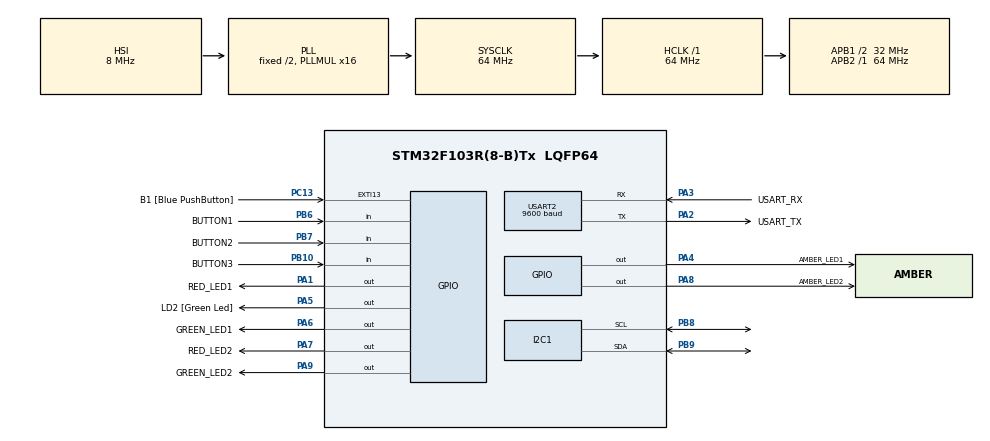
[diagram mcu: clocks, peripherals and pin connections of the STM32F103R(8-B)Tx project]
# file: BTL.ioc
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Mcu.Family=STM32F1
Mcu.Name=STM32F103R(8-B)Tx
Mcu.Package=LQFP64
NVIC.EXTI15_10_IRQn=true\:0\:0\:false\:false\:true\:true\:true
NVIC.I2C1_ER_IRQn=true\:0\:0\:false\:false\:true\:true\:true
NVIC.I2C1_EV_IRQn=true\:0\:0\:false\:false\:true\:true\:true
NVIC.PriorityGroup=NVIC_PRIORITYGROUP_4
NVIC.TIM2_IRQn=true\:0\:0\:false\:false\:true\:true\:true
PA1.GPIO_Label=RED_LED1
PA1.Signal=GPIO_Output
PA13.GPIO_Label=TMS
PA13.Mode=Serial_Wire
PA13.Signal=SYS_JTMS-SWDIO
PA14.GPIO_Label=TCK
PA14.Mode=Serial_Wire
PA14.Signal=SYS_JTCK-SWCLK
PA2.GPIO_Label=USART_TX
PA2.GPIO_Mode=GPIO_MODE_AF_PP
PA2.GPIO_PuPd=GPIO_NOPULL
PA2.GPIO_Speed=GPIO_SPEED_FREQ_LOW
PA2.Mode=Asynchronous
PA2.Signal=USART2_TX
PA3.GPIO_Label=USART_RX
PA3.GPIO_Mode=GPIO_MODE_AF_PP
PA3.GPIO_PuPd=GPIO_NOPULL
PA3.GPIO_Speed=GPIO_SPEED_FREQ_LOW
PA3.Mode=Asynchronous
PA3.Signal=USART2_RX
PA4.GPIO_Label=AMBER_LED1
PA4.Signal=GPIO_Output
PA5.GPIO_Label=LD2 [Green Led]
PA5.GPIO_ModeDefaultOutputPP=GPIO_MODE_OUTPUT_PP
PA5.GPIO_PuPd=GPIO_NOPULL
PA5.GPIO_Speed=GPIO_SPEED_FREQ_LOW
PA5.Signal=GPIO_Output
PA6.GPIO_Label=GREEN_LED1
PA6.Signal=GPIO_Output
PA7.GPIO_Label=RED_LED2
PA7.Signal=GPIO_Output
PA8.GPIO_Label=AMBER_LED2
PA8.Signal=GPIO_Output
PA9.GPIO_Label=GREEN_LED2
PA9.Signal=GPIO_Output
PB10.GPIO_Label=BUTTON3
PB10.GPIO_PuPd=GPIO_PULLUP
PB10.Signal=GPIO_Input
PB3.GPIO_Label=SWO
PB3.Signal=SYS_JTDO-TRACESWO
PB6.GPIO_Label=BUTTON1
PB6.GPIO_PuPd=GPIO_PULLUP
PB6.Signal=GPIO_Input
PB7.GPIO_Label=BUTTON2
PB7.GPIO_PuPd=GPIO_PULLUP
PB7.Signal=GPIO_Input
PB8.Mode=I2C
PB8.Signal=I2C1_SCL
PB9.Mode=I2C
PB9.Signal=I2C1_SDA
PC13-TAMPER-RTC.GPIO_Label=B1 [Blue PushButton]
PC13-TAMPER-RTC.GPIO_PuPd=GPIO_NOPULL
PC13-TAMPER-RTC.Signal=GPXTI13
PC14-OSC32_IN.Mode=LSE-External-Oscillator
PC14-OSC32_IN.Signal=RCC_OSC32_IN
PC15-OSC32_OUT.Mode=LSE-External-Oscillator
PC15-OSC32_OUT.Signal=RCC_OSC32_OUT
PD0-OSC_IN.Mode=HSE-External-Oscillator
PD0-OSC_IN.Signal=RCC_OSC_IN
PD1-OSC_OUT.Mode=HSE-External-Oscillator
PD1-OSC_OUT.Signal=RCC_OSC_OUT
ProjectManager.HeapSize=0x200
ProjectManager.StackSize=0x400
ProjectManager.TargetToolchain=STM32CubeIDE
RCC.AHBFreq_Value=64000000
RCC.APB1CLKDivider=RCC_HCLK_DIV2
RCC.APB1Freq_Value=32000000
RCC.APB1TimFreq_Value=64000000
RCC.APB2Freq_Value=64000000
RCC.APB2TimFreq_Value=64000000
RCC.HCLKFreq_Value=64000000
RCC.PLLMUL=RCC_PLL_MUL16
RCC.RTCClockSelection=RCC_RTCCLKSOURCE_LSE
RCC.SYSCLKFreq_VALUE=64000000
RCC.SYSCLKSource=RCC_SYSCLKSOURCE_PLLCLK
RCC.USBFreq_Value=64000000
TIM2.Period=9
TIM2.Prescaler=7999
USART2.BaudRate=9600
USART2.VirtualMode=VM_ASYNC
VP_TIM2_VS_ClockSourceINT.Mode=Internal
board=NUCLEO-F103RB

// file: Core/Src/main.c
/* USER CODE BEGIN Header */
/**
  ******************************************************************************
  * @file           : main.c
  * @brief          : Main program body
  ******************************************************************************
  * @attention
  *
  * <h2><center>&copy; Copyright (c) 2024 STMicroelectronics.
  * All rights reserved.</center></h2>
  *
  * This software component is licensed by ST under BSD 3-Clause license,
  * the "License"; You may not use this file except in compliance with the
  * License. You may obtain a copy of the License at:
  *                        opensource.org/licenses/BSD-3-Clause
  *
  ******************************************************************************
  */
/* USER CODE END Header */
#include "main.h"

/* USER CODE BEGIN Includes */
#include "global.h"
#include "System_FSM.h"
#include "input_reading.h"
#include "scheduler.h"
/* USER CODE END Includes */

I2C_HandleTypeDef hi2c1;

TIM_HandleTypeDef htim2;

UART_HandleTypeDef huart2;

void SystemClock_Config(void);
static void MX_GPIO_Init(void);
static void MX_USART2_UART_Init(void);
static void MX_I2C1_Init(void);
static void MX_TIM2_Init(void);

int main(void)
{

  /* MCU Configuration--------------------------------------------------------*/

  /* Reset of all peripherals, Initializes the Flash interface and the Systick. */
  HAL_Init();

  /* Configure the system clock */
  SystemClock_Config();

  /* Initialize all configured peripherals */
  MX_GPIO_Init();
  MX_USART2_UART_Init();
  MX_I2C1_Init();
  MX_TIM2_Init();
  /* USER CODE BEGIN 2 */
  HAL_TIM_Base_Start_IT(&htim2);
  setTimer(timer_duration[0], 0);
  SCH_Init();
  SCH_Add_Task(fsm_traffic, 0, 1);
  SCH_Add_Task(clock_counter_traffic_update, 0, 1);
  SCH_Add_Task(fsm_switch_mode, 0, 1);
  SCH_Add_Task(timerRun, 0, 1);
  SCH_Add_Task(getButtonValue, 0, 1);
  /* USER CODE END 2 */

  /* Infinite loop */
  /* USER CODE BEGIN WHILE */
  while (1)
  {

	  SCH_Dispatch_Tasks();
    /* USER CODE END WHILE */

  }
}

void SystemClock_Config(void)
{
  RCC_OscInitTypeDef RCC_OscInitStruct = {0};
  RCC_ClkInitTypeDef RCC_ClkInitStruct = {0};

  /** Initializes the RCC Oscillators according to the specified parameters
  * in the RCC_OscInitTypeDef structure.
  */
  RCC_OscInitStruct.OscillatorType = RCC_OSCILLATORTYPE_HSI;
  RCC_OscInitStruct.HSIState = RCC_HSI_ON;
  RCC_OscInitStruct.HSICalibrationValue = RCC_HSICALIBRATION_DEFAULT;
  RCC_OscInitStruct.PLL.PLLState = RCC_PLL_ON;
  RCC_OscInitStruct.PLL.PLLSource = RCC_PLLSOURCE_HSI_DIV2;
  RCC_OscInitStruct.PLL.PLLMUL = RCC_PLL_MUL16;
  if (HAL_RCC_OscConfig(&RCC_OscInitStruct) != HAL_OK)
  {
    Error_Handler();
  }
  /** Initializes the CPU, AHB and APB buses clocks
  */
  RCC_ClkInitStruct.ClockType = RCC_CLOCKTYPE_HCLK|RCC_CLOCKTYPE_SYSCLK
                              |RCC_CLOCKTYPE_PCLK1|RCC_CLOCKTYPE_PCLK2;
  RCC_ClkInitStruct.SYSCLKSource = RCC_SYSCLKSOURCE_PLLCLK;
  RCC_ClkInitStruct.AHBCLKDivider = RCC_SYSCLK_DIV1;
  RCC_ClkInitStruct.APB1CLKDivider = RCC_HCLK_DIV2;
  RCC_ClkInitStruct.APB2CLKDivider = RCC_HCLK_DIV1;

  if (HAL_RCC_ClockConfig(&RCC_ClkInitStruct, FLASH_LATENCY_2) != HAL_OK)
  {
    Error_Handler();
  }
}

static void MX_I2C1_Init(void)
{

  hi2c1.Instance = I2C1;
  hi2c1.Init.ClockSpeed = 100000;
  hi2c1.Init.DutyCycle = I2C_DUTYCYCLE_2;
  hi2c1.Init.OwnAddress1 = 0;
  hi2c1.Init.AddressingMode = I2C_ADDRESSINGMODE_7BIT;
  hi2c1.Init.DualAddressMode = I2C_DUALADDRESS_DISABLE;
  hi2c1.Init.OwnAddress2 = 0;
  hi2c1.Init.GeneralCallMode = I2C_GENERALCALL_DISABLE;
  hi2c1.Init.NoStretchMode = I2C_NOSTRETCH_DISABLE;
  if (HAL_I2C_Init(&hi2c1) != HAL_OK)
  {
    Error_Handler();
  }

}

static void MX_TIM2_Init(void)
{

  TIM_ClockConfigTypeDef sClockSourceConfig = {0};
  TIM_MasterConfigTypeDef sMasterConfig = {0};

  htim2.Instance = TIM2;
  htim2.Init.Prescaler = 7999;
  htim2.Init.CounterMode = TIM_COUNTERMODE_UP;
  htim2.Init.Period = 9;
  htim2.Init.ClockDivision = TIM_CLOCKDIVISION_DIV1;
  htim2.Init.AutoReloadPreload = TIM_AUTORELOAD_PRELOAD_DISABLE;
  if (HAL_TIM_Base_Init(&htim2) != HAL_OK)
  {
    Error_Handler();
  }
  sClockSourceConfig.ClockSource = TIM_CLOCKSOURCE_INTERNAL;
  if (HAL_TIM_ConfigClockSource(&htim2, &sClockSourceConfig) != HAL_OK)
  {
    Error_Handler();
  }
  sMasterConfig.MasterOutputTrigger = TIM_TRGO_RESET;
  sMasterConfig.MasterSlaveMode = TIM_MASTERSLAVEMODE_DISABLE;
  if (HAL_TIMEx_MasterConfigSynchronization(&htim2, &sMasterConfig) != HAL_OK)
  {
    Error_Handler();
  }

}

static void MX_USART2_UART_Init(void)
{

  huart2.Instance = USART2;
  huart2.Init.BaudRate = 9600;
  huart2.Init.WordLength = UART_WORDLENGTH_8B;
  huart2.Init.StopBits = UART_STOPBITS_1;
  huart2.Init.Parity = UART_PARITY_NONE;
  huart2.Init.Mode = UART_MODE_TX_RX;
  huart2.Init.HwFlowCtl = UART_HWCONTROL_NONE;
  huart2.Init.OverSampling = UART_OVERSAMPLING_16;
  if (HAL_UART_Init(&huart2) != HAL_OK)
  {
    Error_Handler();
  }

}

static void MX_GPIO_Init(void)
{
  GPIO_InitTypeDef GPIO_InitStruct = {0};

  /* GPIO Ports Clock Enable */
  __HAL_RCC_GPIOC_CLK_ENABLE();
  __HAL_RCC_GPIOD_CLK_ENABLE();
  __HAL_RCC_GPIOA_CLK_ENABLE();
  __HAL_RCC_GPIOB_CLK_ENABLE();

  /*Configure GPIO pin Output Level */
  HAL_GPIO_WritePin(GPIOA, RED_LED1_Pin|AMBER_LED1_Pin|LD2_Pin|GREEN_LED1_Pin
                          |RED_LED2_Pin|AMBER_LED2_Pin|GREEN_LED2_Pin, GPIO_PIN_RESET);

  /*Configure GPIO pin : B1_Pin */
  GPIO_InitStruct.Pin = B1_Pin;
  GPIO_InitStruct.Mode = GPIO_MODE_IT_RISING;
  GPIO_InitStruct.Pull = GPIO_NOPULL;
  HAL_GPIO_Init(B1_GPIO_Port, &GPIO_InitStruct);

  /*Configure GPIO pins : RED_LED1_Pin AMBER_LED1_Pin LD2_Pin GREEN_LED1_Pin
                           RED_LED2_Pin AMBER_LED2_Pin GREEN_LED2_Pin */
  GPIO_InitStruct.Pin = RED_LED1_Pin|AMBER_LED1_Pin|LD2_Pin|GREEN_LED1_Pin
                          |RED_LED2_Pin|AMBER_LED2_Pin|GREEN_LED2_Pin;
  GPIO_InitStruct.Mode = GPIO_MODE_OUTPUT_PP;
  GPIO_InitStruct.Pull = GPIO_NOPULL;
  GPIO_InitStruct.Speed = GPIO_SPEED_FREQ_LOW;
  HAL_GPIO_Init(GPIOA, &GPIO_InitStruct);

  /*Configure GPIO pins : BUTTON3_Pin BUTTON1_Pin BUTTON2_Pin */
  GPIO_InitStruct.Pin = BUTTON3_Pin|BUTTON1_Pin|BUTTON2_Pin;
  GPIO_InitStruct.Mode = GPIO_MODE_INPUT;
  GPIO_InitStruct.Pull = GPIO_PULLUP;
  HAL_GPIO_Init(GPIOB, &GPIO_InitStruct);

  /* EXTI interrupt init*/
  HAL_NVIC_SetPriority(EXTI15_10_IRQn, 0, 0);
  HAL_NVIC_EnableIRQ(EXTI15_10_IRQn);

}

/* USER CODE BEGIN 4 */
void HAL_TIM_PeriodElapsedCallback(TIM_HandleTypeDef * htim){
	SCH_Update();
}
/* USER CODE END 4 */

void Error_Handler(void)
{
  __disable_irq();
  while (1)
  {
  }
}

/************************ (C) COPYRIGHT STMicroelectronics *****END OF FILE****/
